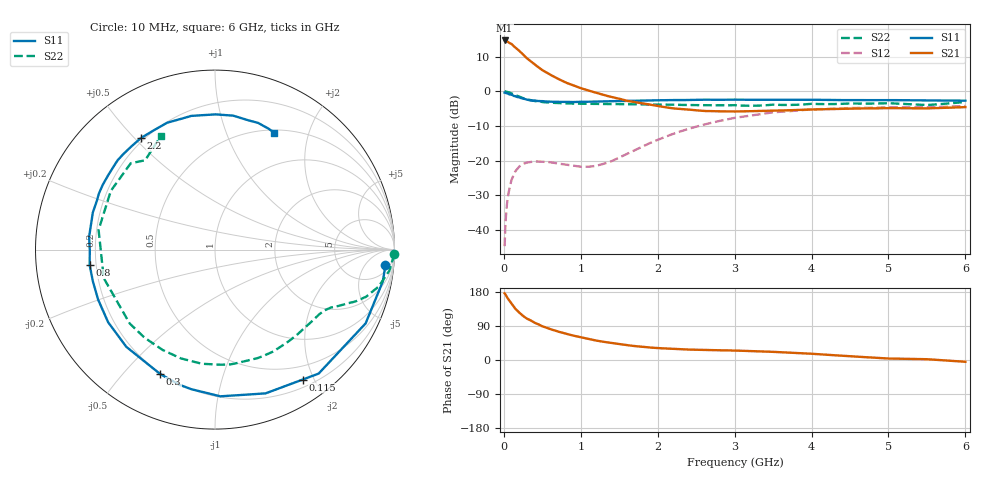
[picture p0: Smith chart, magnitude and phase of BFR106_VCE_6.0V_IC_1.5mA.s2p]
! Infineon Technologies  Discrete & RF Semiconductors
! BFR106
! VCE =  6.0 V,  IC =  1.5 mA
! Common Emitter S-Parameters:  Nov 2015
# GHz  S  MA  R  50
!  f  S11  S21  S12  S22
! GHz  MAG  ANG  MAG  ANG  MAG  ANG  MAG  ANG
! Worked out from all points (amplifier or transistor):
!   210 points, 10 MHz to 6 GHz, reference 50 ohm
!   highest |S21| = 14.7 dB at 10 MHz (marker M1)
!   |S21| within 3 dB of that: start of sweep to 200.9 MHz
!   unconditionally stable (mu >= 1): 818.2 MHz to 1.814 GHz; 3.593 GHz to end of sweep
!   at 185 MHz: K = 0.22, MSG = 17.0 dB, |S12| = -22.1 dB
!   at 1.52 GHz: K = 1.21, MAG = 5.6 dB, |S12| = -18.9 dB
!   at 6 GHz: K = 1.02, MAG = -1.0 dB, |S12| = -4.3 dB
!   S11 on the Smith chart (normalised r, x): 10 MHz: 9, -17; 115 MHz: 0.30, -1.84; 300 MHz: 0.20, -0.63; 800 MHz: 0.17, -0.06; 2.2 GHz: 0.19, +0.52; 6 GHz: 0.53, +1.49
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0.01  0.9536 -5.2  5.407 176.0  0.0058 88.8  0.9989 -1.4
0.025  0.9442 -13.2  5.315 171.7  0.0142 81.8  0.9905 -3.6
0.045  0.9326 -23.5  5.2 164.6  0.0258 76.4  0.9805 -6.2
0.1  0.9004 -50.1  4.82 148.7  0.0525 63.5  0.934 -12.8
0.115  0.8735 -56.0  4.632 144.9  0.0575 59.4  0.9179 -14.1
0.15  0.8492 -70.6  4.283 135.0  0.07 52.3  0.8824 -17.3
0.2  0.818 -87.9  3.837 125.2  0.0817 44.7  0.8366 -20.1
0.24  0.7889 -99.6  3.47 118.0  0.0877 39.4  0.8022 -21.8
0.3  0.7575 -113.8  2.99 109.2  0.0935 34.1  0.7653 -24.0
0.4  0.7332 -132.4  2.432 98.3  0.0971 27.7  0.7228 -26.5
0.5  0.7199 -145.8  2.019 89.0  0.0964 24.4  0.6978 -29.0
0.6  0.7083 -156.8  1.738 81.6  0.0944 23.0  0.6836 -31.8
0.8  0.7037 -172.9  1.341 69.5  0.0876 25.7  0.6684 -37.9
1.02  0.7044 173.0  1.091 58.9  0.0813 36.7  0.6591 -45.5
1.4  0.7183 154.2  0.824 44.9  0.0978 63.2  0.6541 -60.2
2.02  0.7395 129.6  0.606 31.3  0.203 74.9  0.6413 -88.0
2.2  0.7461 123.6  0.565 29.2  0.2422 73.3  0.6403 -96.6
3.1  0.754 98.1  0.512 24.3  0.4275 52.8  0.6202 -144.4
3.5  0.7535 89.8  0.523 21.5  0.4965 42.9  0.6399 -165.6
4.1  0.7507 81.1  0.548 15.1  0.551 28.2  0.6532 166.4
5.1  0.7435 70.3  0.569 3.5  0.5845 10.0  0.6635 133.1
6  0.7307 63.1  0.59 -4.7  0.6124 -1.6  0.6997 115.7
